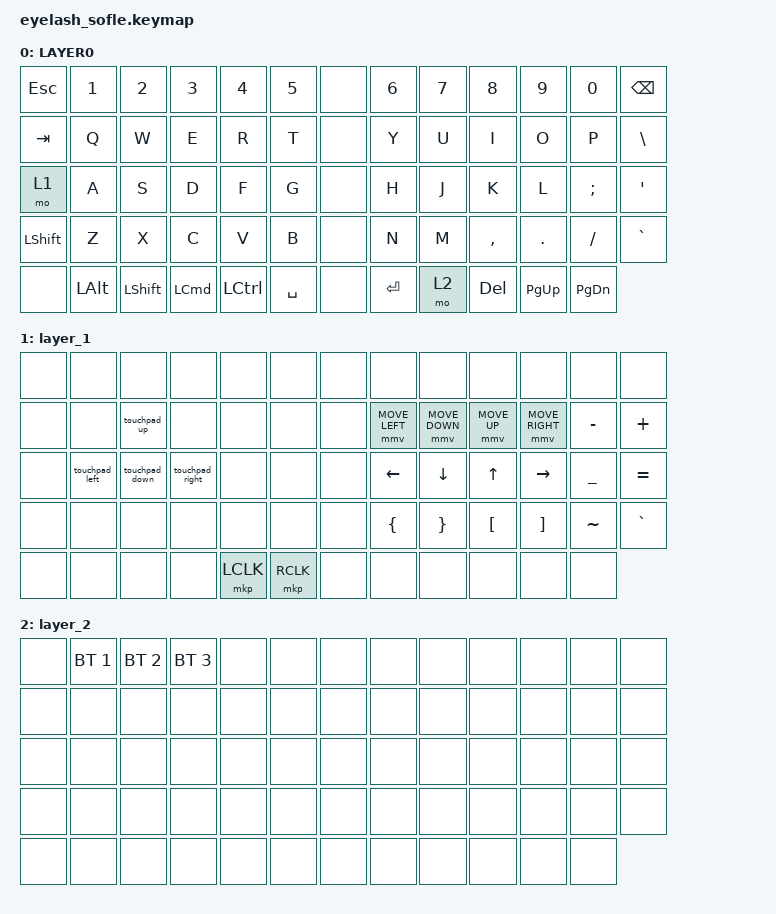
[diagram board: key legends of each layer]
#define ZMK_POINTING_DEFAULT_MOVE_VAL 1200  // 600
#define ZMK_POINTING_DEFAULT_SCRL_VAL 25   // 10

#include <input/processors.dtsi>
#include <zephyr/dt-bindings/input/input-event-codes.h>
#include <behaviors.dtsi>
#include <dt-bindings/zmk/bt.h>
#include <dt-bindings/zmk/keys.h>
#include <dt-bindings/zmk/pointing.h>

&mmv_input_listener { input-processors = <&zip_xy_scaler 2 1>; };

&msc_input_listener { input-processors = <&zip_scroll_scaler 2 1>; };

&msc {
    acceleration-exponent = <1>;      // 0
    time-to-max-speed-ms = <100>;       // 300
    delay-ms = <0>;                   // 0
};

&mmv {
    time-to-max-speed-ms = <500>;
    acceleration-exponent = <1>;
    trigger-period-ms = <16>;
};

/ {
    scroll_encoder: scroll_encoder {
        compatible = "zmk,behavior-sensor-rotate";
        #sensor-binding-cells = <0>;
        bindings = <&msc SCRL_DOWN>, <&msc SCRL_UP>;

        tap-ms = <100>;
    };

    behaviors {
    };

    macros {
        touchpad_up: touchpad_up {
            compatible = "zmk,behavior-macro";
            #binding-cells = <0>;
            bindings = <&kp LC(UP_ARROW)>;
            label = "TOUCHPAD_UP";
        };

        touchpad_down: touchpad_down {
            compatible = "zmk,behavior-macro";
            #binding-cells = <0>;
            bindings = <&kp LC(DOWN)>;
            label = "TOUCHPAD_DOWN";
        };

        touchpad_left: touchpad_left {
            compatible = "zmk,behavior-macro";
            #binding-cells = <0>;
            bindings = <&kp LC(LEFT)>;
            label = "TOUCHPAD_LEFT";
        };

        touchpad_right: touchpad_right {
            compatible = "zmk,behavior-macro";
            #binding-cells = <0>;
            bindings = <&kp LC(RIGHT)>;
            label = "TOUCHPAD_RIGHT";
        };
    };

    keymap {
        compatible = "zmk,keymap";

        layer0 {
            bindings = <
&kp ESC    &kp N1        &kp N2          &kp N3            &kp N4            &kp N5       &none  &kp N6     &kp N7  &kp N8      &kp N9       &kp N0         &kp BACKSPACE
&kp TAB    &kp Q         &kp W           &kp E             &kp R             &kp T        &none  &kp Y      &kp U   &kp I       &kp O        &kp P          &kp BSLH
&mo 1      &kp A         &kp S           &kp D             &kp F             &kp G        &none  &kp H      &kp J   &kp K       &kp L        &kp SEMI       &kp APOS
&kp LSHFT  &kp Z         &kp X           &kp C             &kp V             &kp B        &none  &kp N      &kp M   &kp COMMA   &kp DOT      &kp FSLH       &kp GRAVE
&none      &kp LEFT_ALT  &kp LEFT_SHIFT  &kp LEFT_COMMAND  &kp LEFT_CONTROL  &kp SPACE    &none  &kp ENTER  &mo 2   &kp DELETE  &kp PAGE_UP  &kp PAGE_DOWN
            >;

            display-name = "LAYER0";
        };

        layer_1 {
            bindings = <
&none  &none           &none           &none            &none      &none        &none  &none           &none            &none             &none              &none      &none
&none  &none           &touchpad_up    &none            &none      &none        &none  &mmv MOVE_LEFT  &mmv MOVE_DOWN   &mmv MOVE_UP      &mmv MOVE_RIGHT    &kp MINUS  &kp PLUS
&none  &touchpad_left  &touchpad_down  &touchpad_right  &none      &none        &none  &kp LEFT_ARROW  &kp DOWN_ARROW   &kp UP_ARROW      &kp RIGHT_ARROW    &kp UNDER  &kp EQUAL
&none  &none           &none           &none            &none      &none        &none  &kp LEFT_BRACE  &kp RIGHT_BRACE  &kp LEFT_BRACKET  &kp RIGHT_BRACKET  &kp TILDE  &kp GRAVE
&none  &none           &none           &none            &mkp LCLK  &mkp RCLK    &none  &none           &none            &none             &none              &none
            >;
        };

        layer_2 {
            bindings = <
&none  &bt BT_SEL 1  &bt BT_SEL 2  &bt BT_SEL 3  &none  &none    &none  &none  &none  &none  &none  &none  &none
&none  &none         &none         &none         &none  &none    &none  &none  &none  &none  &none  &none  &none
&none  &none         &none         &none         &none  &none    &none  &none  &none  &none  &none  &none  &none
&none  &none         &none         &none         &none  &none    &none  &none  &none  &none  &none  &none  &none
&none  &none         &none         &none         &none  &none    &none  &none  &none  &none  &none  &none
            >;
        };
    };
};
